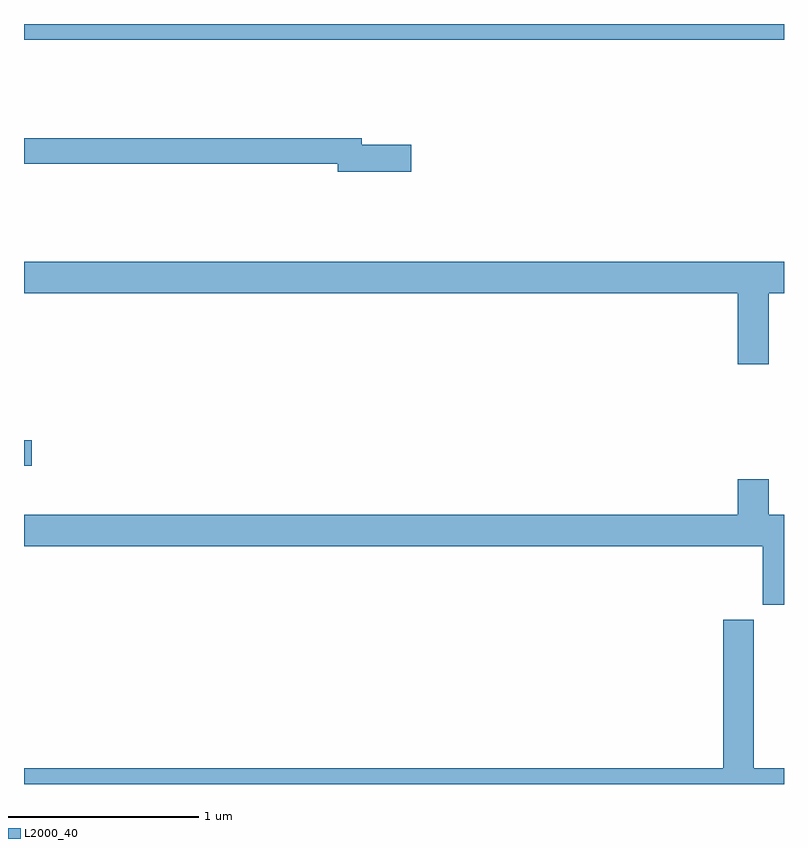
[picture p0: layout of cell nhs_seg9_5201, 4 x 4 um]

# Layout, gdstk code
import gdstk
lib = gdstk.Library(unit=1e-6, precision=1e-09)
def R(c, l, rs):  # rectangles x0, y0, x1, y1
    for r in rs: c.add(gdstk.rectangle(r[:2], r[2:], *l))
def P(c, l, *ps):  # polygons
    for p in ps: c.add(gdstk.Polygon(p, *l))
L2000_40 = (2000, 40)

nhs_seg9_5201 = lib.new_cell('nhs_seg9_5201')
R(nhs_seg9_5201, L2000_40, [(413,1198.175,413.041,1198.31), (413,1200.416,417,1200.5)])
P(nhs_seg9_5201, L2000_40, [(415.039,1199.864),(414.778,1199.864),(414.778,1199.9),(413,1199.9),(413,1199.764),(414.65,1199.764),(414.65,1199.722),(415.039,1199.722)],
  [(416.92,1199.084),(417,1199.084),(417,1199.248),(413,1199.248),(413,1199.084),(416.756,1199.084),(416.756,1198.71),(416.92,1198.71)],
  [(417,1197.916),(416.92,1197.916),(416.92,1198.105),(416.756,1198.105),(416.756,1197.916),(413,1197.916),(413,1197.752),(416.888,1197.752),(416.888,1197.443),(417,1197.443)],
  [(417,1196.584),(416.841,1196.584),(416.841,1197.364),(416.681,1197.364),(416.681,1196.584),(413,1196.584),(413,1196.5),(417,1196.5)])

lib.write_gds('nhs_seg9_5201.gds')
